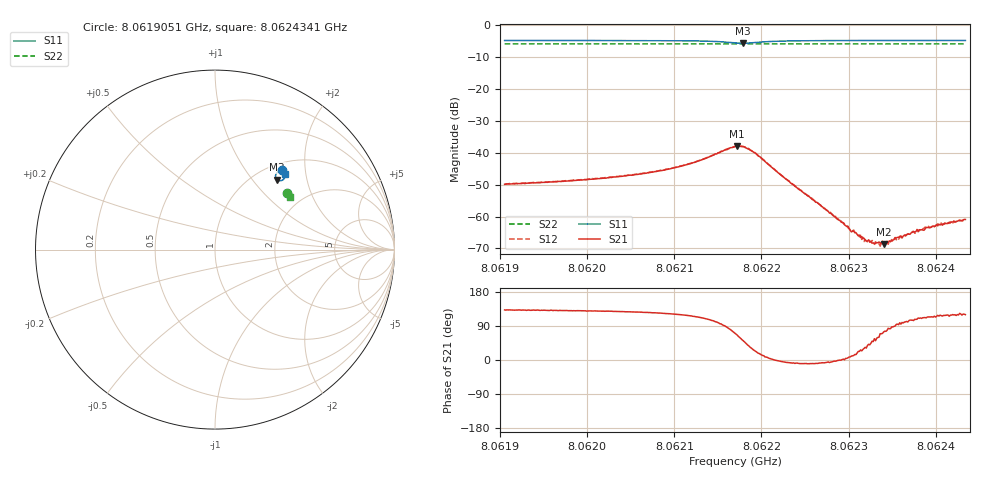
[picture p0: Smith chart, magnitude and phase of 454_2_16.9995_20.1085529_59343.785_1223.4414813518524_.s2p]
#  HZ  S  RI  R  50.00
! Rohde & Schwarz Vector Network Analyzer
! Rohde-Schwarz,ZNB20-2Port,1311601062101988,3.16
! Created: UTC 3/20/2024, 11:12:23 PM
! freq[Hz]  re:S11  im:S11  re:S21  im:S21  re:S12  im:S12  re:S22  im:S22
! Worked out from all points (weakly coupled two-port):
!   401 points, 8.0619051 GHz to 8.0624341 GHz, reference 50 ohm
!   highest |S21| = -37.95 dB at 8.0621723 GHz (marker M1); lowest = -68.7 dB at 8.0623402 GHz (marker M2)
!   lowest |S11| = -5.7 dB at 8.0621789 GHz (marker M3), VSWR 3.18, Z = 62.7 + j67.2 ohm
!   |S11| at or under -10 dB: nowhere
!   |S22| runs from -5.9 to -5.8 dB; largest |S21 - S12| = 0.00091
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8.06190511e9  0.3709 0.4407  -0.00215 0.00237  -0.002 0.00252  0.4001 0.3169
8.06199372e9  0.3774 0.4346  -0.0024 0.00287  -0.00225 0.00303  0.4035 0.3124
8.06203869e9  0.3811 0.4306  -0.0026 0.00337  -0.00243 0.00354  0.4052 0.31
8.06208233e9  0.3853 0.4245  -0.0029 0.00432  -0.00265 0.00452  0.4067 0.3078
8.06212068e9  0.3891 0.4143  -0.00298 0.00624  -0.00267 0.00648  0.408 0.3053
8.06216962e9  0.3625 0.3835  0.00422 0.0118  0.00487 0.0116  0.4081 0.3021
8.06217226e9  0.3574 0.3842  0.00525 0.0115  0.00602 0.0112  0.4079 0.3019
8.06217887e9  0.3456 0.3906  0.00778 0.00969  0.00844 0.00935  0.4077 0.3022
8.0621921e9  0.3377 0.4138  0.00907 0.00419  0.00947 0.00371  0.4081 0.3027
8.06223045e9  0.3617 0.4355  0.00362 -0.000429  0.00363 -0.000653  0.4108 0.3015
8.06225823e9  0.3713 0.4348  0.00183 -0.000301  0.00187 -0.000439  0.4122 0.3
8.06230319e9  0.3794 0.4314  0.000566 0.000103  0.000611 0.000102  0.4139 0.2976
8.06231774e9  0.3813 0.4303  0.000394 0.000231  0.000352 0.000202  0.4144 0.2969
8.06232964e9  0.3826 0.4296  0.00021 0.000314  0.000251 0.000268  0.4149 0.2961
8.06233493e9  0.3832 0.4291  0.000199 0.000345  0.000198 0.000321  0.4151 0.2959
8.06234022e9  0.3836 0.4287  0.000102 0.000354  0.000169 0.000328  0.4153 0.2956
8.06234684e9  0.3843 0.4283  5.33e-05 0.000413  8.27e-05 0.000408  0.4157 0.2954
8.06235609e9  0.3853 0.4276  -3.79e-05 0.000471  4.15e-06 0.000459  0.4159 0.2948
8.06236403e9  0.3859 0.4272  -8.79e-05 0.000502  -8.35e-05 0.000508  0.4162 0.2943
8.06238916e9  0.3882 0.4255  -0.000245 0.000632  -0.000215 0.000629  0.4171 0.293
8.0624037e9  0.3892 0.4247  -0.000332 0.000682  -0.000301 0.000677  0.4176 0.2922
8.06243412e9  0.3914 0.4229  -0.000447 0.000781  -0.00043 0.000766  0.4186 0.2907
